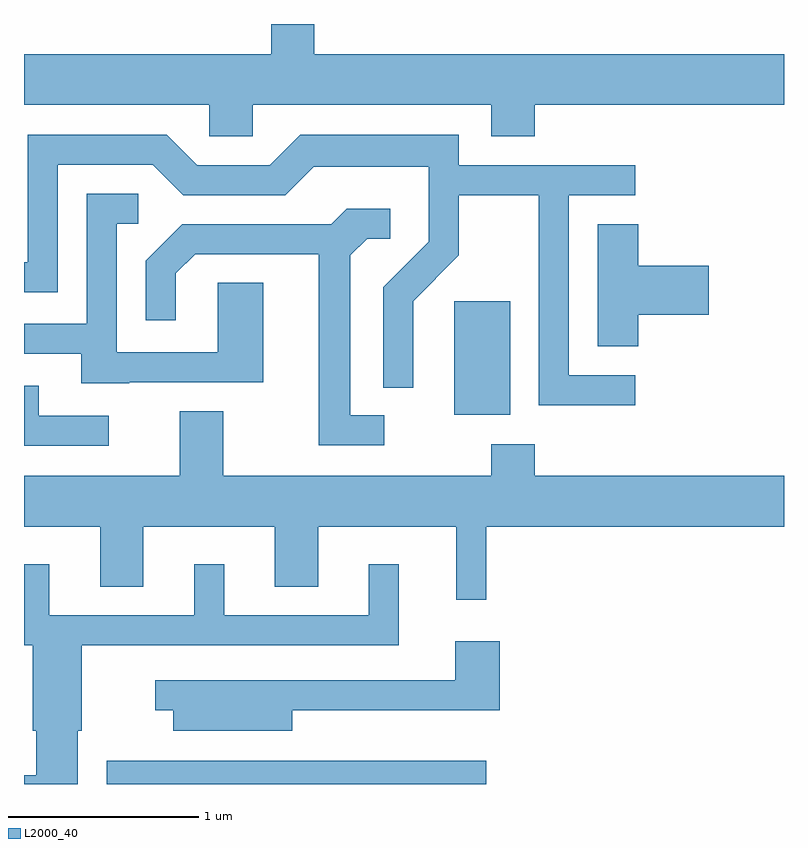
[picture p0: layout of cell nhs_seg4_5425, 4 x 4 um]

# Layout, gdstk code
import gdstk
lib = gdstk.Library(unit=1e-6, precision=1e-09)
def R(c, l, rs):  # rectangles x0, y0, x1, y1
    for r in rs: c.add(gdstk.rectangle(r[:2], r[2:], *l))
def P(c, l, *ps):  # polygons
    for p in ps: c.add(gdstk.Polygon(p, *l))
L2000_40 = (2000, 40)

nhs_seg4_5425 = lib.new_cell('nhs_seg4_5425')
R(nhs_seg4_5425, L2000_40, [(344.046,1359.982,346.044,1360.104), (345.876,1361.926,346.169,1362.524)])
P(nhs_seg4_5425, L2000_40, [(344.814,1363.556),(346.071,1363.556),(346.071,1363.391),(346.299,1363.391),(346.299,1363.556),(347.611,1363.556),(347.611,1363.824),(345.139,1363.824),(345.139,1363.982),(344.911,1363.982),(344.911,1363.824),(343.611,1363.824),(343.611,1363.556),(344.586,1363.556),(344.586,1363.391),(344.814,1363.391)],
  [(346.828,1362.134),(346.479,1362.134),(346.479,1363.081),(346.828,1363.081),(346.828,1363.239),(345.899,1363.239),(345.899,1363.399),(345.064,1363.399),(344.904,1363.239),(344.522,1363.239),(344.362,1363.399),(343.631,1363.399),(343.631,1362.729),(343.611,1362.729),(343.611,1362.571),(343.789,1362.571),(343.789,1363.241),(344.289,1363.241),(344.449,1363.081),(344.987,1363.081),(345.137,1363.231),(345.741,1363.231),(345.741,1362.837),(345.501,1362.597),(345.501,1362.068),(345.659,1362.068),(345.659,1362.524),(345.899,1362.764),(345.899,1363.081),(346.321,1363.081),(346.321,1361.976),(346.828,1361.976)],
  [(344.165,1362.096),(344.869,1362.096),(344.869,1362.619),(344.631,1362.619),(344.631,1362.254),(344.099,1362.254),(344.099,1362.931),(344.213,1362.931),(344.213,1363.089),(343.941,1363.089),(343.941,1362.404),(343.611,1362.404),(343.611,1362.246),(343.911,1362.246),(343.911,1362.091),(344.165,1362.091)],
  [(345.508,1361.924),(345.329,1361.924),(345.329,1362.764),(345.417,1362.851),(345.538,1362.851),(345.538,1363.009),(345.309,1363.009),(345.229,1362.929),(344.444,1362.929),(344.251,1362.737),(344.251,1362.423),(344.409,1362.423),(344.409,1362.669),(344.512,1362.771),(345.161,1362.771),(345.161,1361.766),(345.508,1361.766)],
  [(346.844,1362.451),(347.214,1362.451),(347.214,1362.709),(346.844,1362.709),(346.844,1362.929),(346.631,1362.929),(346.631,1362.286),(346.844,1362.286)],
  [(344.058,1361.919),(343.689,1361.919),(343.689,1362.079),(343.611,1362.079),(343.611,1361.761),(344.058,1361.761)],
  [(346.044,1361.336),(347.611,1361.336),(347.611,1361.604),(346.299,1361.604),(346.299,1361.769),(346.071,1361.769),(346.071,1361.604),(344.659,1361.604),(344.659,1361.944),(344.431,1361.944),(344.431,1361.604),(343.611,1361.604),(343.611,1361.336),(344.011,1361.336),(344.011,1361.021),(344.239,1361.021),(344.239,1361.336),(344.931,1361.336),(344.931,1361.021),(345.159,1361.021),(345.159,1361.336),(345.886,1361.336),(345.886,1360.953),(346.044,1360.953)],
  [(343.894,1360.261),(343.914,1360.261),(343.914,1360.711),(345.584,1360.711),(345.584,1361.138),(345.426,1361.138),(345.426,1360.869),(344.664,1360.869),(344.664,1361.138),(344.506,1361.138),(344.506,1360.869),(343.744,1360.869),(343.744,1361.138),(343.611,1361.138),(343.611,1360.711),(343.656,1360.711),(343.656,1360.261),(343.676,1360.261),(343.676,1360.029),(343.611,1360.029),(343.611,1359.982),(343.894,1359.982)],
  [(345.024,1360.371),(346.114,1360.371),(346.114,1360.734),(345.881,1360.734),(345.881,1360.529),(344.303,1360.529),(344.303,1360.371),(344.396,1360.371),(344.396,1360.261),(345.024,1360.261)])

lib.write_gds('nhs_seg4_5425.gds')
